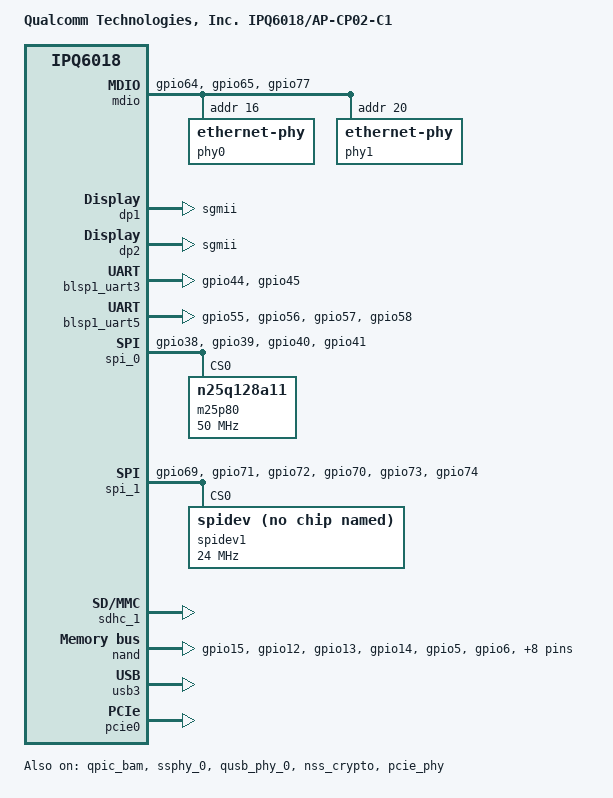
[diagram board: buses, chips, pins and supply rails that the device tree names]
/dts-v1/;
/*
 * Copyright (c) 2019, The Linux Foundation. All rights reserved.
 *
 * Permission to use, copy, modify, and/or distribute this software for any
 * purpose with or without fee is hereby granted, provided that the above
 * copyright notice and this permission notice appear in all copies.
 *
 * THE SOFTWARE IS PROVIDED "AS IS" AND THE AUTHOR DISCLAIMS ALL WARRANTIES
 * WITH REGARD TO THIS SOFTWARE INCLUDING ALL IMPLIED WARRANTIES OF
 * MERCHANTABILITY AND FITNESS. IN NO EVENT SHALL THE AUTHOR BE LIABLE FOR
 * ANY SPECIAL, DIRECT, INDIRECT, OR CONSEQUENTIAL DAMAGES OR ANY DAMAGES
 * WHATSOEVER RESULTING FROM LOSS OF USE, DATA OR PROFITS, WHETHER IN AN
 * ACTION OF CONTRACT, NEGLIGENCE OR OTHER TORTIOUS ACTION, ARISING OUT OF
 * OR IN CONNECTION WITH THE USE OR PERFORMANCE OF THIS SOFTWARE.
 */

#include "qcom-ipq6018.dtsi"
#include "qcom-ipq6018-rpm-regulator.dtsi"
#include "qcom-ipq6018-cpr-regulator.dtsi"
#include "qcom-ipq6018-cp-cpu.dtsi"

/ {
	#address-cells = <0x2>;
	#size-cells = <0x2>;
	model = "Qualcomm Technologies, Inc. IPQ6018/AP-CP02-C1";
	compatible = "qcom,ipq6018-cp02", "qcom,ipq6018";
	interrupt-parent = <&intc>;
	qcom,msm-id = <0x192 0x0>, <0x193 0x0>;

	aliases {
		serial0 = &blsp1_uart3;
		serial1 = &blsp1_uart5;
		sdhc1 = &sdhc_1;
		/*
		 * Aliases as required by u-boot
		 * to patch MAC addresses
		 */
		ethernet0 = "/soc/dp1";
		ethernet1 = "/soc/dp2";
	};

	chosen {
		bootargs = "console=ttyMSM0,115200,n8 rw init=/init";
#ifdef __IPQ_MEM_PROFILE_256_MB__
		bootargs-append = " swiotlb=1";
#else
		bootargs-append = " swiotlb=1 coherent_pool=2M";
#endif
	};

	/*
	 * +=========+==============+========================+
	 * |        |              |                         |
	 * | Region | Start Offset |          Size           |
	 * |        |              |                         |
	 * +--------+--------------+-------------------------+
	 * |        |              |                         |
	 * |        |              |                         |
	 * |        |              |                         |
	 * |        |              |                         |
	 * | Linux  |  0x41000000  |         119MB           |
	 * |        |              |                         |
	 * |        |              |                         |
	 * |        |              |                         |
	 * +--------+--------------+-------------------------+
	 * |        |              |                         |
	 * | LPASS  |              |                         |
	 * |   Q6   |  0x48700000  |          26MB           |
	 * |        |              |                         |
	 * +--------+--------------+-------------------------+
	 *
	 * From the available 145 MB for Linux in the first 256 MB,
	 * we are reserving 26 MB for LPASS.
	 *
	 * Refer arch/arm64/boot/dts/qcom/qcom-ipq6018-memory.dtsi
	 * for memory layout.
	 */

#if !defined(__IPQ_MEM_PROFILE_256_MB__) && !defined(__IPQ_MEM_PROFILE_512_MB__)
	reserved-memory {
		lpass_q6_region: lpass@48700000 {
			no-map;
			reg = <0x0 0x48700000 0x0 0x01a00000>;
		};
	};
#endif
};

&tlmm {
	uart_pins: uart_pins {
		mux {
			pins = "gpio44", "gpio45";
			function = "blsp2_uart";
			drive-strength = <8>;
			bias-pull-up;
		};
	};

	spi_0_pins: spi_0_pins {
		mux {
			pins = "gpio38", "gpio39", "gpio40", "gpio41";
			function = "blsp0_spi";
			drive-strength = <8>;
			bias-pull-down;
		};
	};

	spi_1_pins: spi_1_pins {
		mux {
			pins = "gpio69", "gpio71", "gpio72";
			function = "blsp1_spi";
			drive-strength = <8>;
			bias-disable;
		};
		spi_cs {
			pins = "gpio70";
			function = "blsp1_spi";
			drive-strength = <8>;
			bias-disable;
		};
		quartz_interrupt {
			pins = "gpio73";
			function = "gpio";
			input;
			bias-disable;
		};
		quartz_reset {
			pins = "gpio74";
			function = "gpio";
			output-low;
			bias-disable;
		};
	};

	qpic_pins: qpic_pins {
		data_0 {
			pins = "gpio15";
			function = "qpic_pad0";
			drive-strength = <8>;
			bias-pull-down;
		};
		data_1 {
			pins = "gpio12";
			function = "qpic_pad1";
			drive-strength = <8>;
			bias-pull-down;
		};
		data_2 {
			pins = "gpio13";
			function = "qpic_pad2";
			drive-strength = <8>;
			bias-pull-down;
		};
		data_3 {
			pins = "gpio14";
			function = "qpic_pad3";
			drive-strength = <8>;
			bias-pull-down;
		};
		data_4 {
			pins = "gpio5";
			function = "qpic_pad4";
			drive-strength = <8>;
			bias-pull-down;
		};
		data_5 {
			pins = "gpio6";
			function = "qpic_pad5";
			drive-strength = <8>;
			bias-pull-down;
		};
		data_6 {
			pins = "gpio7";
			function = "qpic_pad6";
			drive-strength = <8>;
			bias-pull-down;
		};
		data_7 {
			pins = "gpio8";
			function = "qpic_pad7";
			drive-strength = <8>;
			bias-pull-down;
		};
		qpic_pad {
			pins = "gpio1", "gpio3", "gpio4",
			       "gpio10", "gpio11", "gpio17";
			function = "qpic_pad";
			drive-strength = <8>;
			bias-pull-down;
		};
	};

	button_pins: button_pins {
		wps_button {
			pins = "gpio9";
			function = "gpio";
			drive-strength = <8>;
			bias-pull-down;
		};
	};

	mdio_pins: mdio_pinmux {
		mux_0 {
			pins = "gpio64";
			function = "mdc";
			drive-strength = <8>;
			bias-pull-up;
		};
		mux_1 {
			pins = "gpio65";
			function = "mdio";
			drive-strength = <8>;
			bias-pull-up;
		};
		mux_2 {
			pins = "gpio77";
			function = "gpio";
			bias-pull-up;
		};
	};

	hsuart_pins: hsuart_pins {
		mux {
			pins = "gpio55", "gpio56", "gpio57", "gpio58";
			function = "blsp4_uart";
			drive-strength = <8>;
			bias-disable;
		};
	};
};

&soc {
	mdio: mdio@90000 {
		pinctrl-0 = <&mdio_pins>;
		pinctrl-names = "default";
		phy-reset-gpio = <&tlmm 77 0>;
		status = "ok";
		phy0: ethernet-phy@0 {
			reg = <0x10>;
		};
		phy1: ethernet-phy@1 {
			reg = <0x14>;
		};
	};

	ess-switch@3a000000 {
		switch_cpu_bmp = <0x1>;  /* cpu port bitmap */
		switch_lan_bmp = <0x10>; /* lan port bitmap */
		switch_wan_bmp = <0x20>; /* wan port bitmap */
		switch_inner_bmp = <0xc0>; /*inner port bitmap*/
		switch_mac_mode = <0xf>; /* mac mode for uniphy instance0*/
		switch_mac_mode1 = <0xf>; /* mac mode for uniphy instance1*/
		switch_mac_mode2 = <0xff>; /* mac mode for uniphy instance2*/
		qcom,port_phyinfo {
			port@4 {
				port_id = <4>;
				phy_address = <0x10>;
				port_mac_sel = "QGMAC_PORT";
			};
			port@5 {
				port_id = <5>;
				phy_address = <0x14>;
				port_mac_sel = "QGMAC_PORT";
			};
		};
	};

	dp1 {
		device_type = "network";
		compatible = "qcom,nss-dp";
		qcom,id = <4>;
		reg = <0x3a001600 0x200>;
		qcom,mactype = <0>;
		local-mac-address = [000000000000];
		qcom,link-poll = <1>;
		qcom,phy-mdio-addr = <16>;
		phy-mode = "sgmii";
	};

	dp2 {
		device_type = "network";
		compatible = "qcom,nss-dp";
		qcom,id = <5>;
		reg = <0x3a001800 0x200>;
		qcom,mactype = <0>;
		local-mac-address = [000000000000];
		qcom,link-poll = <1>;
		qcom,phy-mdio-addr = <20>;
		phy-mode = "sgmii";
	};

	nss-macsec0 {
		compatible = "qcom,nss-macsec";
		phy_addr = <0x10>;
		phy_access_mode = <0>;
		mdiobus = <&mdio>;
	};
	nss-macsec1 {
		compatible = "qcom,nss-macsec";
		phy_addr = <0x14>;
		phy_access_mode = <0>;
		mdiobus = <&mdio>;
	};

};

&blsp1_uart3 {
	pinctrl-0 = <&uart_pins>;
	pinctrl-names = "default";
	status = "ok";
};

&blsp1_uart5 {
	pinctrl-0 = <&hsuart_pins>;
	pinctrl-names = "default";
	dmas = <&blsp_dma 8>,
		<&blsp_dma 9>;
	dma-names = "tx", "rx";
	status = "ok";
};

&spi_0 {
	pinctrl-0 = <&spi_0_pins>;
	pinctrl-names = "default";
	cs-select = <0>;
	status = "ok";

	m25p80@0 {
		#address-cells = <1>;
		#size-cells = <1>;
		reg = <0>;
		compatible = "n25q128a11";
		linux,modalias = "m25p80", "n25q128a11";
		spi-max-frequency = <50000000>;
		use-default-sizes;
	};
};

&spi_1 { /* BLSP1 QUP1 */
	pinctrl-0 = <&spi_1_pins>;
	pinctrl-names = "default";
	cs-select = <0>;
	quartz-reset-gpio = <&tlmm 74 1>;
	status = "ok";
	spidev1: spi@1 {
		compatible = "qca,spidev";
		reg = <0>;
		spi-max-frequency = <24000000>;
	};
};

&sdhc_1 {
	status = "ok";
};

&qpic_bam {
	status = "ok";
};

&nand {
	pinctrl-0 = <&qpic_pins>;
	pinctrl-names = "default";
	status = "ok";
};

&ssphy_0 {
	status = "ok";
};

&qusb_phy_0 {
	status = "ok";
};

&usb3 {
	status = "ok";
};

&nss_crypto {
	status = "ok";
};

&pcie_phy {
	status = "ok";
};

&pcie0 {
	status = "ok";
};
